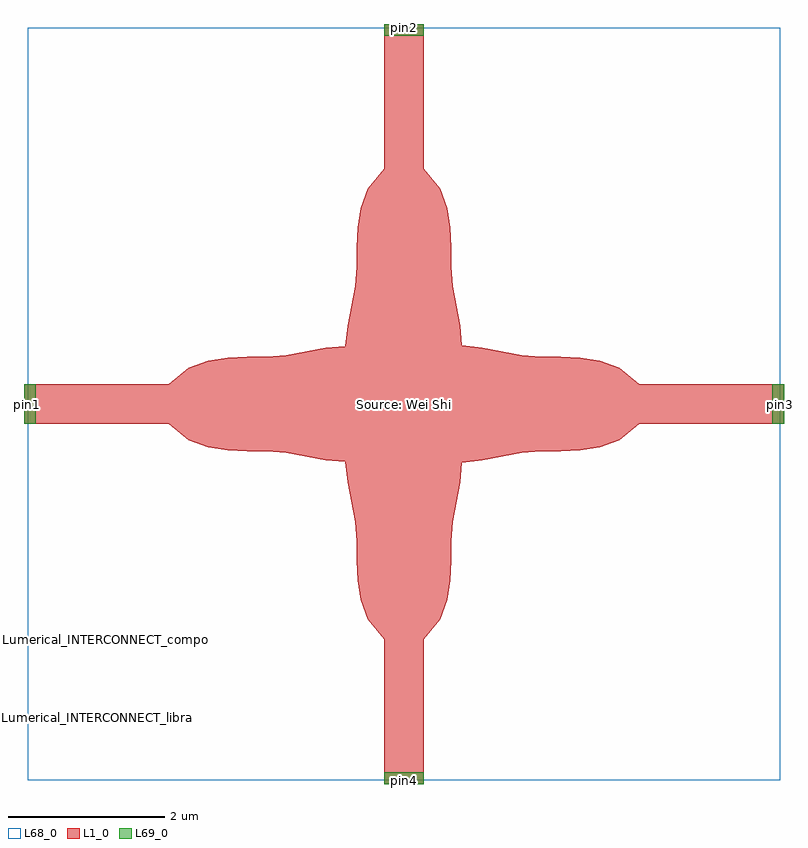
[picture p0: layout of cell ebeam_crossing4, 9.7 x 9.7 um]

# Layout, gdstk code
import gdstk
lib = gdstk.Library(unit=1e-6, precision=1e-09)
def R(c, l, rs):  # rectangles x0, y0, x1, y1
    for r in rs: c.add(gdstk.rectangle(r[:2], r[2:], *l))
def P(c, l, *ps):  # polygons
    for p in ps: c.add(gdstk.Polygon(p, *l))
L1_0 = (1, 0)
L68_0 = (68, 0)
L69_0 = (69, 0)

ebeam_crossing4 = lib.new_cell('ebeam_crossing4')
R(ebeam_crossing4, L1_0, [(-0.25,-4.85,0.25,-4.35), (-4.85,-0.25,-4.4,0.25), (4.4,-0.25,4.85,0.25), (-0.25,4.35,0.25,4.85)])
P(ebeam_crossing4, L1_0, [(-0.25,-4.85),(-0.25,-3),(-0.46,-2.75),(-0.55,-2.5),(-0.59,-2.25),(-0.6,-2),(-0.6,-1.75),(-0.62,-1.5),(-0.72,-1),(-0.75,-0.74),(-1,-0.72),(-1.5,-0.62),(-1.75,-0.6),(-2,-0.6),(-2.25,-0.59),(-2.5,-0.55),(-2.75,-0.46),(-3,-0.25),(-4.85,-0.25),(-4.85,0.25),(-3,0.25),(-2.75,0.46),(-2.5,0.55),(-2.25,0.59),(-2,0.6),(-1.75,0.6),(-1.5,0.62),(-1,0.72),(-0.75,0.74),(-0.72,1),(-0.62,1.5),(-0.6,1.75),(-0.6,2),(-0.59,2.25),(-0.55,2.5),(-0.46,2.75),(-0.25,3),(-0.25,4.85),(0.25,4.85),(0.25,3),(0.46,2.75),(0.55,2.5),(0.59,2.25),(0.6,2),(0.6,1.75),(0.62,1.5),(0.72,1),(0.74,0.75),(1,0.72),(1.5,0.62),(1.75,0.6),(2,0.6),(2.25,0.59),(2.5,0.55),(2.75,0.46),(3,0.25),(4.85,0.25),(4.85,-0.25),(3,-0.25),(2.75,-0.46),(2.5,-0.55),(2.25,-0.59),(2,-0.6),(1.75,-0.6),(1.5,-0.62),(1,-0.72),(0.74,-0.75),(0.72,-1),(0.62,-1.5),(0.6,-1.75),(0.6,-2),(0.59,-2.25),(0.55,-2.5),(0.46,-2.75),(0.25,-3),(0.25,-4.85)])
R(ebeam_crossing4, L68_0, [(-4.8,-4.8,4.8,4.8)])
ebeam_crossing4.add(gdstk.FlexPath([(0,4.85),(0,4.7)], 0.5, ends="flush", simple_path=True, layer=69, datatype=0))  # L69_0
ebeam_crossing4.add(gdstk.FlexPath([(-4.85,0),(-4.7,0)], 0.5, ends="flush", simple_path=True, layer=69, datatype=0))  # L69_0
ebeam_crossing4.add(gdstk.FlexPath([(0,-4.85),(0,-4.7)], 0.5, ends="flush", simple_path=True, layer=69, datatype=0))  # L69_0
ebeam_crossing4.add(gdstk.FlexPath([(4.85,0),(4.7,0)], 0.5, ends="flush", simple_path=True, layer=69, datatype=0))  # L69_0
ebeam_crossing4.add(gdstk.Label('Source: Wei Shi', (0,0), layer=10, texttype=0))
ebeam_crossing4.add(gdstk.Label('pin1', (-4.8,0), layer=69, texttype=0))
ebeam_crossing4.add(gdstk.Label('pin2', (0,4.8), layer=69, texttype=0))
ebeam_crossing4.add(gdstk.Label('pin3', (4.8,0), layer=69, texttype=0))
ebeam_crossing4.add(gdstk.Label('pin4', (0,-4.8), layer=69, texttype=0))
ebeam_crossing4.add(gdstk.Label('Lumerical_INTERCONNECT_component="Waveguide Crossing"', (-4,-3), layer=68, texttype=0))
ebeam_crossing4.add(gdstk.Label('Lumerical_INTERCONNECT_library=Waveguides/Crossings', (-4,-4), layer=68, texttype=0))

lib.write_gds('ebeam_crossing4.gds')
